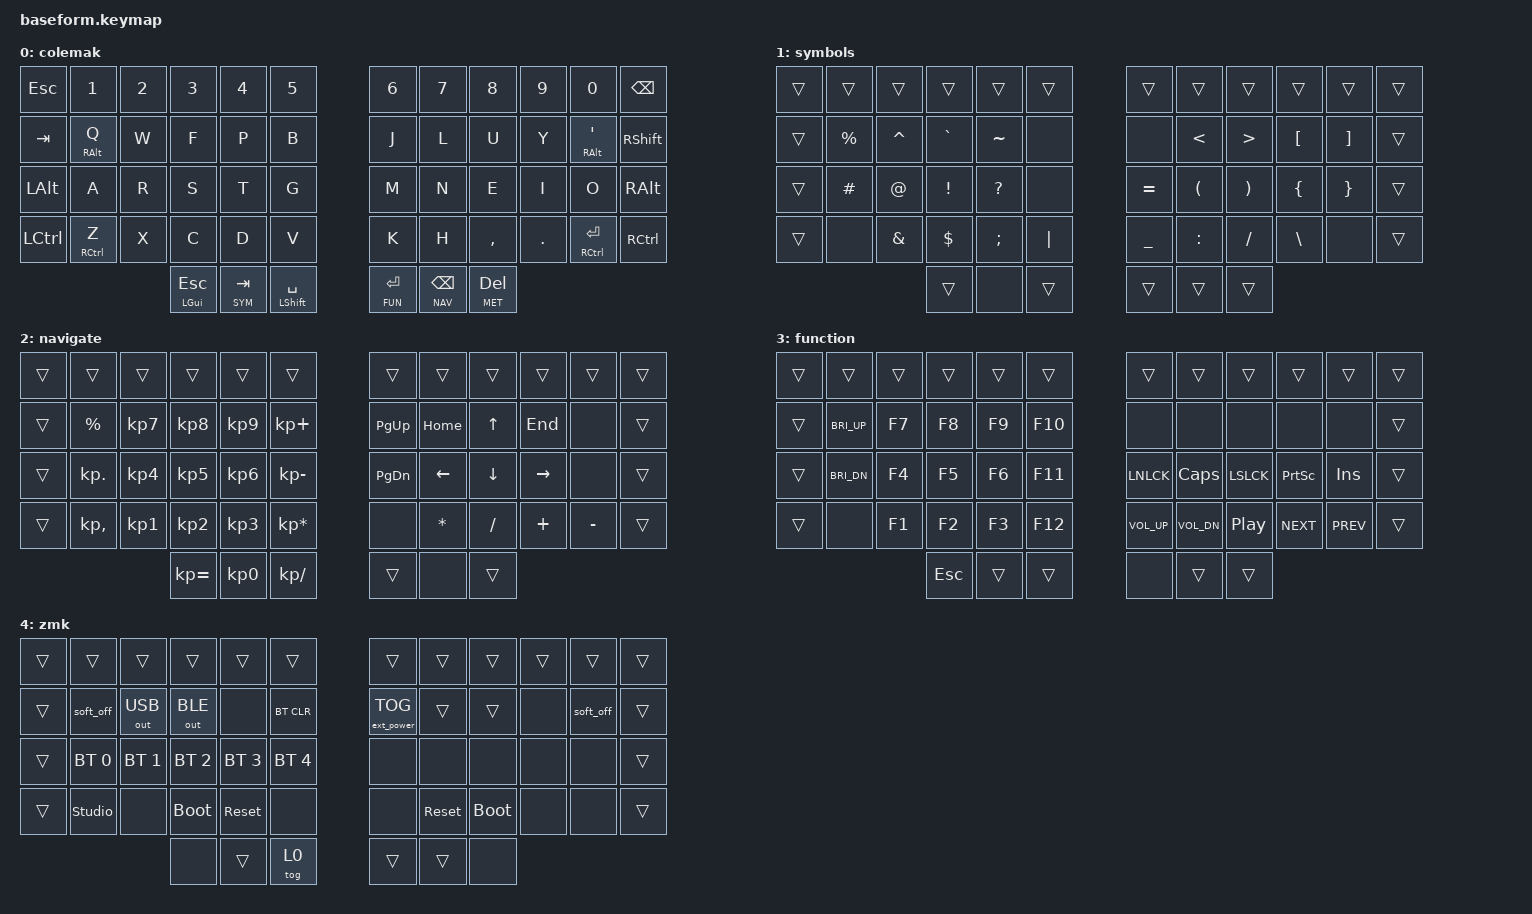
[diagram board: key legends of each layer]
#include <behaviors.dtsi>
#include <dt-bindings/zmk/keys.h>
#include <dt-bindings/zmk/bt.h>
#include <dt-bindings/zmk/ext_power.h>
#include <dt-bindings/zmk/outputs.h>

#define COL 0
#define SYM 1
#define NAV 2
#define FUN 3
#define MET 4

&lt {
  tapping-term-ms = <150>;
  quick_tap_ms = <150>;
};

&soft_off {
    hold-time-ms = <2000>; 
};

/ {

  behaviors {
    hm: htt {
      compatible = "zmk,behavior-hold-tap";
      label = "HOLD_TAP_TUNED";
      #binding-cells = <2>;
      tapping-term-ms = <170>;
      quick_tap_ms = <170>;
      flavor = "tap-preferred";
      bindings = <&kp>, <&kp>;
    };
  };

  keymap {
    compatible = "zmk,keymap";

    colemak_layer {
      display-name = "colemak";
      bindings = <
        &kp ESC      &kp N1         &kp N2       &kp N3         &kp N4           &kp N5               &kp N6         &kp N7          &kp N8        &kp N9       &kp N0          &kp BSPC          
        &kp TAB      &hm RALT Q     &kp W        &kp F          &kp P            &kp B                &kp J          &kp L           &kp U         &kp Y        &hm RALT APOS   &kp RSHFT       
        &kp LALT     &kp A          &kp R        &kp S          &kp T            &kp G                &kp M          &kp N           &kp E         &kp I        &kp O           &kp RALT   
        &kp LCTRL    &hm RCTRL Z    &kp X        &kp C          &kp D            &kp V                &kp K          &kp H           &kp COMMA     &kp DOT      &hm RCTRL RET   &kp RCTRL
                                                 &mt LGUI ESC   &lt SYM TAB      &hm LSHFT SPACE      &lt FUN RET    &lt NAV BSPC    &lt MET DEL
      >;
    };


    symbols {
      display-name = "symbols";
      bindings = <
        &trans         &trans         &trans       &trans         &trans           &trans               &trans         &trans         &trans        &trans       &trans       &trans         
        &trans         &kp PRCNT      &kp CARET    &kp GRAVE      &kp TILDE        &none                &none          &kp LT         &kp GT        &kp LBKT     &kp RBKT     &trans          
        &trans         &kp HASH       &kp AT       &kp EXCL       &kp QMARK        &none                &kp EQUAL      &kp LPAR       &kp RPAR      &kp LBRC     &kp RBRC     &trans     
        &trans         &none          &kp AMPS     &kp DLLR       &kp SEMI         &kp PIPE             &kp UNDER      &kp COLN       &kp FSLH      &kp BSLH     &none        &trans
                                                   &trans         &none            &trans               &trans         &trans         &trans
      >;
    };

    navigation {
      display-name = "navigate";
      bindings = <
        &trans         &trans         &trans       &trans         &trans           &trans               &trans         &trans         &trans        &trans       &trans        &trans    
        &trans         &kp PRCNT      &kp KP_N7    &kp KP_N8      &kp KP_N9        &kp KP_PLUS          &kp PG_UP      &kp HOME       &kp UP        &kp END      &none         &trans          
        &trans         &kp KP_DOT     &kp KP_N4    &kp KP_N5      &kp KP_N6        &kp KP_MINUS         &kp PG_DN      &kp LEFT       &kp DOWN      &kp RIGHT    &none         &trans     
        &trans         &kp KP_COMMA   &kp KP_N1    &kp KP_N2      &kp KP_N3        &kp KP_MULTIPLY      &none          &kp ASTRK      &kp FSLH      &kp PLUS     &kp MINUS     &trans
                                                   &kp KP_EQUAL   &kp KP_N0        &kp KP_DIVIDE        &trans         &none          &trans
      >;
    };

    function {
      display-name = "function";
      bindings = <
        &trans         &trans         &trans       &trans         &trans           &trans               &trans         &trans         &trans        &trans       &trans        &trans
        &trans         &kp C_BRI_UP   &kp F7       &kp F8         &kp F9           &kp F10              &none          &none          &none         &none        &none         &trans         
        &trans         &kp C_BRI_DN   &kp F4       &kp F5         &kp F6           &kp F11              &kp LNLCK     	&kp CAPS      &kp LSLCK     &kp PSCRN    &kp INS       &trans   
        &trans         &none          &kp F1       &kp F2         &kp F3           &kp F12              &kp C_VOL_UP   &kp C_VOL_DN   &kp C_PP      &kp C_NEXT   &kp C_PREV    &trans
                                                   &kp ESC        &trans           &trans               &none          &trans         &trans
      >;
    };

    meta {
      display-name = "zmk";
      bindings = <
        &trans         &trans         &trans       &trans         &trans           &trans               &trans            &trans         &trans        &trans       &trans        &trans  
        &trans         &soft_off      &out OUT_USB &out OUT_BLE   &none            &bt BT_CLR           &ext_power EP_TOG &trans         &trans        &none        &soft_off     &trans         
        &trans         &bt BT_SEL 0   &bt BT_SEL 1 &bt BT_SEL 2   &bt BT_SEL 3     &bt BT_SEL 4         &none             &none          &none         &none        &none         &trans     
        &trans         &studio_unlock &none        &bootloader    &sys_reset       &none                &none             &sys_reset     &bootloader   &none        &none         &trans
                                                   &none           &trans           &tog 0               &trans            &trans         &none

      >;
    };

    extra1 {
        status = "reserved";
    };

    extra2 {
        status = "reserved";
    };

    extra3 {
        status = "reserved";
    };

    extra4 {
        status = "reserved";
    };

    extra5 {
        status = "reserved";
    };


  };
};
